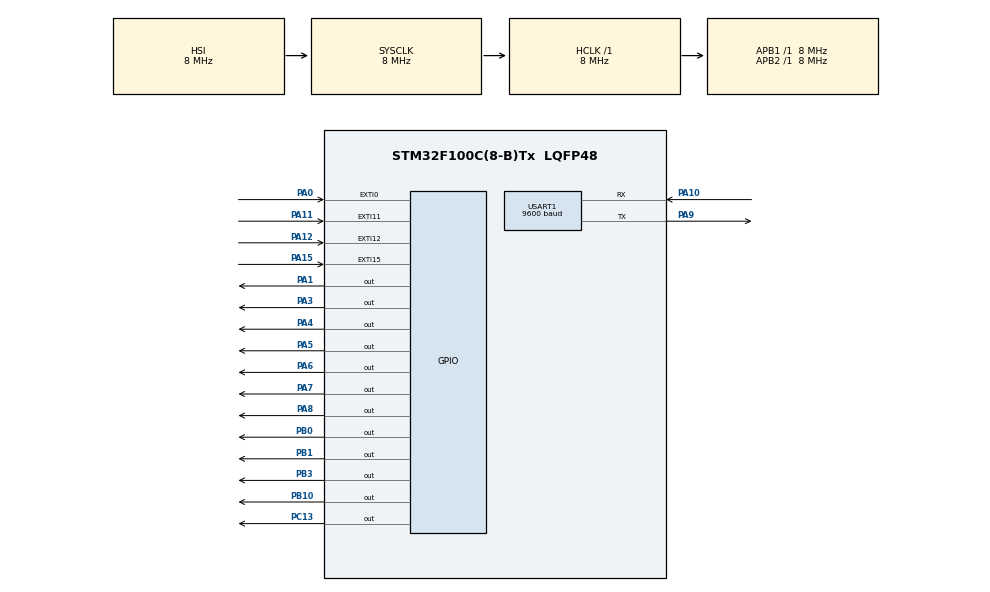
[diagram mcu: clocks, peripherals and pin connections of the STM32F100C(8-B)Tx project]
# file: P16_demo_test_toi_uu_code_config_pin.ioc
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Mcu.Family=STM32F1
Mcu.Name=STM32F100C(8-B)Tx
Mcu.Package=LQFP48
NVIC.EXTI0_IRQn=true\:1\:0\:true\:false\:true\:true\:true\:true
NVIC.EXTI15_10_IRQn=true\:1\:0\:true\:false\:true\:true\:true\:true
NVIC.PriorityGroup=NVIC_PRIORITYGROUP_4
NVIC.TIM2_IRQn=true\:1\:0\:true\:false\:true\:true\:true\:true
NVIC.TIM3_IRQn=true\:0\:0\:false\:false\:true\:true\:true\:true
PA0-WKUP.GPIO_ModeDefaultEXTI=GPIO_MODE_IT_RISING
PA0-WKUP.GPIO_PuPd=GPIO_PULLUP
PA0-WKUP.Signal=GPXTI0
PA1.GPIO_ModeDefaultOutputPP=GPIO_MODE_OUTPUT_PP
PA1.GPIO_PuPd=GPIO_PULLUP
PA1.PinState=GPIO_PIN_SET
PA1.Signal=GPIO_Output
PA10.Mode=Asynchronous
PA10.Signal=USART1_RX
PA11.GPIO_ModeDefaultEXTI=GPIO_MODE_IT_RISING
PA11.GPIO_PuPd=GPIO_PULLUP
PA11.Signal=GPXTI11
PA12.GPIO_ModeDefaultEXTI=GPIO_MODE_IT_RISING
PA12.GPIO_PuPd=GPIO_PULLUP
PA12.Signal=GPXTI12
PA15.GPIO_ModeDefaultEXTI=GPIO_MODE_IT_RISING
PA15.GPIO_PuPd=GPIO_PULLUP
PA15.Signal=GPXTI15
PA3.GPIO_ModeDefaultOutputPP=GPIO_MODE_OUTPUT_PP
PA3.GPIO_PuPd=GPIO_PULLUP
PA3.PinState=GPIO_PIN_SET
PA3.Signal=GPIO_Output
PA4.GPIO_ModeDefaultOutputPP=GPIO_MODE_OUTPUT_PP
PA4.GPIO_PuPd=GPIO_NOPULL
PA4.PinState=GPIO_PIN_SET
PA4.Signal=GPIO_Output
PA5.GPIO_ModeDefaultOutputPP=GPIO_MODE_OUTPUT_PP
PA5.GPIO_PuPd=GPIO_NOPULL
PA5.PinState=GPIO_PIN_SET
PA5.Signal=GPIO_Output
PA6.GPIO_ModeDefaultOutputPP=GPIO_MODE_OUTPUT_PP
PA6.GPIO_PuPd=GPIO_NOPULL
PA6.PinState=GPIO_PIN_SET
PA6.Signal=GPIO_Output
PA7.GPIO_ModeDefaultOutputPP=GPIO_MODE_OUTPUT_PP
PA7.GPIO_PuPd=GPIO_NOPULL
PA7.PinState=GPIO_PIN_SET
PA7.Signal=GPIO_Output
PA8.GPIO_ModeDefaultOutputPP=GPIO_MODE_OUTPUT_PP
PA8.GPIO_PuPd=GPIO_PULLUP
PA8.PinState=GPIO_PIN_SET
PA8.Signal=GPIO_Output
PA9.Mode=Asynchronous
PA9.Signal=USART1_TX
PB0.GPIO_ModeDefaultOutputPP=GPIO_MODE_OUTPUT_PP
PB0.GPIO_PuPd=GPIO_NOPULL
PB0.PinState=GPIO_PIN_SET
PB0.Signal=GPIO_Output
PB1.GPIO_ModeDefaultOutputPP=GPIO_MODE_OUTPUT_OD
PB1.GPIO_PuPd=GPIO_NOPULL
PB1.PinState=GPIO_PIN_SET
PB1.Signal=GPIO_Output
PB10.GPIO_ModeDefaultOutputPP=GPIO_MODE_OUTPUT_OD
PB10.GPIO_PuPd=GPIO_NOPULL
PB10.PinState=GPIO_PIN_RESET
PB10.Signal=GPIO_Output
PB3.GPIO_ModeDefaultOutputPP=GPIO_MODE_OUTPUT_OD
PB3.GPIO_PuPd=GPIO_NOPULL
PB3.PinState=GPIO_PIN_SET
PB3.Signal=GPIO_Output
PC13-TAMPER-RTC.GPIO_ModeDefaultOutputPP=GPIO_MODE_OUTPUT_PP
PC13-TAMPER-RTC.PinState=GPIO_PIN_RESET
PC13-TAMPER-RTC.Signal=GPIO_Output
PC14-OSC32_IN.Mode=LSE-External-Oscillator
PC14-OSC32_IN.Signal=RCC_OSC32_IN
PC15-OSC32_OUT.Mode=LSE-External-Oscillator
PC15-OSC32_OUT.Signal=RCC_OSC32_OUT
ProjectManager.HeapSize=0x200
ProjectManager.StackSize=0x400
ProjectManager.TargetToolchain=MDK-ARM V5.32
RCC.AHBFreq_Value=8000000
RCC.APB1Freq_Value=8000000
RCC.APB1TimFreq_Value=8000000
RCC.APB2Freq_Value=8000000
RCC.APB2TimFreq_Value=8000000
RCC.HCLKFreq_Value=8000000
RCC.SYSCLKFreq_VALUE=8000000
RTC.Format=RTC_FORMAT_BIN
TIM2.AutoReloadPreload=TIM_AUTORELOAD_PRELOAD_ENABLE
TIM2.Period=499
TIM2.Prescaler=8000
TIM3.AutoReloadPreload=TIM_AUTORELOAD_PRELOAD_ENABLE
TIM3.Period=32000
TIM3.Prescaler=60000
USART1.BaudRate=9600
USART1.VirtualMode=VM_ASYNC
VP_RTC_VS_RTC_Activate.Mode=RTC_Enabled
VP_RTC_VS_RTC_Calendar.Mode=RTC_Calendar
VP_SYS_VS_ND.Mode=No_Debug
VP_TIM2_VS_ClockSourceINT.Mode=Internal
VP_TIM3_VS_ClockSourceINT.Mode=Internal
board=custom

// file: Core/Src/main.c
/* USER CODE BEGIN Header */
/**
  ******************************************************************************
  * @file           : main.c
  * @brief          : Main program body
  ******************************************************************************
  * @attention
  *
  * Copyright (c) 2022 STMicroelectronics.
  * All rights reserved.
  *
  * This software is licensed under terms that can be found in the LICENSE file
  * in the root directory of this software component.
  * If no LICENSE file comes with this software, it is provided AS-IS.
  *
  ******************************************************************************
  */
/* USER CODE END Header */
#include "main.h"

/* USER CODE BEGIN Includes */
#include <stdio.h>

#include "string.h"

#include "ir_remote.h"

#include "flash_memory.h"

#include "ic_audio.h"

#include "handle_interupt.h"
/* USER CODE END Includes */

RTC_HandleTypeDef hrtc;

TIM_HandleTypeDef htim2;
TIM_HandleTypeDef htim3;

UART_HandleTypeDef huart1;

/* USER CODE BEGIN PV */
//DangLHb add bien
uint8_t  is_button = 0;
extern uint32_t time_record_1, time_record_2, time_record_3, time_record_4, time_record_5;
//uint8_t interupt_timer_3 = 0;
event event_interupt = NO_EVENT;

/* USER CODE END PV */

void SystemClock_Config(void);
static void MX_GPIO_Init(void);
static void MX_USART1_UART_Init(void);
static void MX_TIM2_Init(void);
static void MX_TIM3_Init(void);
static void MX_RTC_Init(void);
/* USER CODE BEGIN PFP */
static inline uint32_t LL_SYSTICK_IsActiveCounterFlag(void)
{
		return ((SysTick->CTRL & SysTick_CTRL_COUNTFLAG_Msk) == (SysTick_CTRL_COUNTFLAG_Msk));
}

static uint32_t getCurrentMicros(void)
{
    LL_SYSTICK_IsActiveCounterFlag();
		uint32_t m = HAL_GetTick();
		const uint32_t tms = SysTick->LOAD + 1;
		__IO uint32_t u = tms - SysTick->VAL;
		if (LL_SYSTICK_IsActiveCounterFlag())
		{
				m = HAL_GetTick();
				u = tms - SysTick->VAL;
		}
		return (m * 1000 + (u * 1000) / tms);
}
/* USER CODE END PFP */

/* USER CODE BEGIN 0 */
//DangLHb add ham xu li khi co su kien ngat
//Interupnt time - ham xu li khi co ngat timer
void HAL_TIM_PeriodElapsedCallback(TIM_HandleTypeDef *htim)
{
		UNUSED(htim);
		//Handle_Timer_Interupt();
		//event_interupt = TIMER_INTERUPT;
	/*
		if(htim == &htim3)
		{
			interupt_timer_3 = 1;
		}
	*/
		Handle_Timer_Interupt();
		HAL_GPIO_TogglePin(GPIOC, GPIO_PIN_13);
}

//Ham cau hinh chan PB1,PB2 out put push pull
/*
void Config_PB1_PB2_output(void)
{
	if(is_reset ==0)
		{
			HAL_GPIO_WritePin(GPIOB,GPIO_PIN_1|GPIO_PIN_11, GPIO_PIN_SET);
		  GPIO_InitTypeDef GPIO_InitStruct = {0};
			GPIO_InitStruct.Pin = GPIO_PIN_1|GPIO_PIN_2;
			GPIO_InitStruct.Mode = GPIO_MODE_OUTPUT_PP;
			GPIO_InitStruct.Pull = GPIO_NOPULL;
			GPIO_InitStruct.Speed = GPIO_SPEED_FREQ_LOW;
			HAL_GPIO_Init(GPIOB, &GPIO_InitStruct);
			is_reset = 1;
		}
}
*/

/* USER CODE END 0 */

int main(void)
{

  /* MCU Configuration--------------------------------------------------------*/

  /* Reset of all peripherals, Initializes the Flash interface and the Systick. */
  HAL_Init();

  /* Configure the system clock */
  SystemClock_Config();

  /* Initialize all configured peripherals */
  MX_GPIO_Init();
  MX_USART1_UART_Init();
  MX_TIM2_Init();
  MX_TIM3_Init();
  MX_RTC_Init();
  /* USER CODE BEGIN 2 */

/**************danglhb add to read variable and reset IC audio**************/
		HAL_UART_Transmit(&huart1, (uint8_t *)"Init", 4, HAL_MAX_DELAY);

		init_flash_memory();

		// add to resset flash
		//HAL_Delay(100);
		//resest_flash();
		HAL_Delay(100);
		read_variable_from_flash();		// doc gia tri bien da luu tu flash
		HAL_UART_Transmit(&huart1, (uint8_t *)"Init", 4, HAL_MAX_DELAY);
		HAL_GPIO_WritePin(GPIOB,GPIO_PIN_10,GPIO_PIN_RESET);	// RESET IC AUDIO
		HAL_Delay(100);
		HAL_GPIO_WritePin(GPIOB,GPIO_PIN_10,GPIO_PIN_SET);	// RESET IC AUDIO		// config open drain -> push pull
		HAL_TIM_Base_Start_IT(&htim2);	//khoi chay timer
/***************************************************************************/
  /* USER CODE END 2 */

  /* Infinite loop */
  /* USER CODE BEGIN WHILE */
		while (1)
		{
				handle_event(event_interupt);

    /* USER CODE END WHILE */

		}
}

void SystemClock_Config(void)
{
  RCC_OscInitTypeDef RCC_OscInitStruct = {0};
  RCC_ClkInitTypeDef RCC_ClkInitStruct = {0};
  RCC_PeriphCLKInitTypeDef PeriphClkInit = {0};

  /** Initializes the RCC Oscillators according to the specified parameters
  * in the RCC_OscInitTypeDef structure.
  */
  RCC_OscInitStruct.OscillatorType = RCC_OSCILLATORTYPE_HSI|RCC_OSCILLATORTYPE_LSI;
  RCC_OscInitStruct.HSIState = RCC_HSI_ON;
  RCC_OscInitStruct.HSICalibrationValue = RCC_HSICALIBRATION_DEFAULT;
  RCC_OscInitStruct.LSIState = RCC_LSI_ON;
  RCC_OscInitStruct.PLL.PLLState = RCC_PLL_NONE;
  if (HAL_RCC_OscConfig(&RCC_OscInitStruct) != HAL_OK)
  {
    Error_Handler();
  }

  /** Initializes the CPU, AHB and APB buses clocks
  */
  RCC_ClkInitStruct.ClockType = RCC_CLOCKTYPE_HCLK|RCC_CLOCKTYPE_SYSCLK
                              |RCC_CLOCKTYPE_PCLK1|RCC_CLOCKTYPE_PCLK2;
  RCC_ClkInitStruct.SYSCLKSource = RCC_SYSCLKSOURCE_HSI;
  RCC_ClkInitStruct.AHBCLKDivider = RCC_SYSCLK_DIV1;
  RCC_ClkInitStruct.APB1CLKDivider = RCC_HCLK_DIV1;
  RCC_ClkInitStruct.APB2CLKDivider = RCC_HCLK_DIV1;

  if (HAL_RCC_ClockConfig(&RCC_ClkInitStruct, FLASH_LATENCY_0) != HAL_OK)
  {
    Error_Handler();
  }
  PeriphClkInit.PeriphClockSelection = RCC_PERIPHCLK_RTC;
  PeriphClkInit.RTCClockSelection = RCC_RTCCLKSOURCE_LSI;
  if (HAL_RCCEx_PeriphCLKConfig(&PeriphClkInit) != HAL_OK)
  {
    Error_Handler();
  }
}

static void MX_RTC_Init(void)
{

  RTC_TimeTypeDef sTime = {0};
  RTC_DateTypeDef DateToUpdate = {0};

  /** Initialize RTC Only
  */
  hrtc.Instance = RTC;
  hrtc.Init.AsynchPrediv = RTC_AUTO_1_SECOND;
  hrtc.Init.OutPut = RTC_OUTPUTSOURCE_ALARM;
  if (HAL_RTC_Init(&hrtc) != HAL_OK)
  {
    Error_Handler();
  }

  /** Initialize RTC and set the Time and Date
  */
  sTime.Hours = 0;
  sTime.Minutes = 0;
  sTime.Seconds = 0;

  if (HAL_RTC_SetTime(&hrtc, &sTime, RTC_FORMAT_BIN) != HAL_OK)
  {
    Error_Handler();
  }
  DateToUpdate.WeekDay = RTC_WEEKDAY_MONDAY;
  DateToUpdate.Month = RTC_MONTH_JANUARY;
  DateToUpdate.Date = 1;
  DateToUpdate.Year = 0;

  if (HAL_RTC_SetDate(&hrtc, &DateToUpdate, RTC_FORMAT_BIN) != HAL_OK)
  {
    Error_Handler();
  }

}

static void MX_TIM2_Init(void)
{

  TIM_ClockConfigTypeDef sClockSourceConfig = {0};
  TIM_MasterConfigTypeDef sMasterConfig = {0};

  htim2.Instance = TIM2;
  htim2.Init.Prescaler = 8000;
  htim2.Init.CounterMode = TIM_COUNTERMODE_UP;
  htim2.Init.Period = 499;
  htim2.Init.ClockDivision = TIM_CLOCKDIVISION_DIV1;
  htim2.Init.AutoReloadPreload = TIM_AUTORELOAD_PRELOAD_ENABLE;
  if (HAL_TIM_Base_Init(&htim2) != HAL_OK)
  {
    Error_Handler();
  }
  sClockSourceConfig.ClockSource = TIM_CLOCKSOURCE_INTERNAL;
  if (HAL_TIM_ConfigClockSource(&htim2, &sClockSourceConfig) != HAL_OK)
  {
    Error_Handler();
  }
  sMasterConfig.MasterOutputTrigger = TIM_TRGO_RESET;
  sMasterConfig.MasterSlaveMode = TIM_MASTERSLAVEMODE_DISABLE;
  if (HAL_TIMEx_MasterConfigSynchronization(&htim2, &sMasterConfig) != HAL_OK)
  {
    Error_Handler();
  }

}

static void MX_TIM3_Init(void)
{

  TIM_ClockConfigTypeDef sClockSourceConfig = {0};
  TIM_MasterConfigTypeDef sMasterConfig = {0};

  htim3.Instance = TIM3;
  htim3.Init.Prescaler = 60000;
  htim3.Init.CounterMode = TIM_COUNTERMODE_UP;
  htim3.Init.Period = 32000;
  htim3.Init.ClockDivision = TIM_CLOCKDIVISION_DIV1;
  htim3.Init.AutoReloadPreload = TIM_AUTORELOAD_PRELOAD_ENABLE;
  if (HAL_TIM_Base_Init(&htim3) != HAL_OK)
  {
    Error_Handler();
  }
  sClockSourceConfig.ClockSource = TIM_CLOCKSOURCE_INTERNAL;
  if (HAL_TIM_ConfigClockSource(&htim3, &sClockSourceConfig) != HAL_OK)
  {
    Error_Handler();
  }
  sMasterConfig.MasterOutputTrigger = TIM_TRGO_RESET;
  sMasterConfig.MasterSlaveMode = TIM_MASTERSLAVEMODE_DISABLE;
  if (HAL_TIMEx_MasterConfigSynchronization(&htim3, &sMasterConfig) != HAL_OK)
  {
    Error_Handler();
  }

}

static void MX_USART1_UART_Init(void)
{

  huart1.Instance = USART1;
  huart1.Init.BaudRate = 9600;
  huart1.Init.WordLength = UART_WORDLENGTH_8B;
  huart1.Init.StopBits = UART_STOPBITS_1;
  huart1.Init.Parity = UART_PARITY_NONE;
  huart1.Init.Mode = UART_MODE_TX_RX;
  huart1.Init.HwFlowCtl = UART_HWCONTROL_NONE;
  huart1.Init.OverSampling = UART_OVERSAMPLING_16;
  if (HAL_UART_Init(&huart1) != HAL_OK)
  {
    Error_Handler();
  }

}

static void MX_GPIO_Init(void)
{
  GPIO_InitTypeDef GPIO_InitStruct = {0};

  /* GPIO Ports Clock Enable */
  __HAL_RCC_GPIOC_CLK_ENABLE();
  __HAL_RCC_GPIOA_CLK_ENABLE();
  __HAL_RCC_GPIOB_CLK_ENABLE();

  /*Configure GPIO pin Output Level */
  HAL_GPIO_WritePin(GPIOC, GPIO_PIN_13, GPIO_PIN_RESET);

  /*Configure GPIO pin Output Level */
  HAL_GPIO_WritePin(GPIOA, GPIO_PIN_1|GPIO_PIN_3|GPIO_PIN_4|GPIO_PIN_5
                          |GPIO_PIN_6|GPIO_PIN_7|GPIO_PIN_8, GPIO_PIN_SET);

  /*Configure GPIO pin Output Level */
  HAL_GPIO_WritePin(GPIOB, GPIO_PIN_0|GPIO_PIN_1|GPIO_PIN_3, GPIO_PIN_SET);

  /*Configure GPIO pin Output Level */
  HAL_GPIO_WritePin(GPIOB, GPIO_PIN_10, GPIO_PIN_RESET);

  /*Configure GPIO pin : PC13 */
  GPIO_InitStruct.Pin = GPIO_PIN_13;
  GPIO_InitStruct.Mode = GPIO_MODE_OUTPUT_PP;
  GPIO_InitStruct.Pull = GPIO_NOPULL;
  GPIO_InitStruct.Speed = GPIO_SPEED_FREQ_LOW;
  HAL_GPIO_Init(GPIOC, &GPIO_InitStruct);

  /*Configure GPIO pins : PA0 PA11 PA12 PA15 */
  GPIO_InitStruct.Pin = GPIO_PIN_0|GPIO_PIN_11|GPIO_PIN_12|GPIO_PIN_15;
  GPIO_InitStruct.Mode = GPIO_MODE_IT_RISING;
  GPIO_InitStruct.Pull = GPIO_PULLUP;
  HAL_GPIO_Init(GPIOA, &GPIO_InitStruct);

  /*Configure GPIO pins : PA1 PA3 PA8 */
  GPIO_InitStruct.Pin = GPIO_PIN_1|GPIO_PIN_3|GPIO_PIN_8;
  GPIO_InitStruct.Mode = GPIO_MODE_OUTPUT_PP;
  GPIO_InitStruct.Pull = GPIO_PULLUP;
  GPIO_InitStruct.Speed = GPIO_SPEED_FREQ_LOW;
  HAL_GPIO_Init(GPIOA, &GPIO_InitStruct);

  /*Configure GPIO pins : PA4 PA5 PA6 PA7 */
  GPIO_InitStruct.Pin = GPIO_PIN_4|GPIO_PIN_5|GPIO_PIN_6|GPIO_PIN_7;
  GPIO_InitStruct.Mode = GPIO_MODE_OUTPUT_PP;
  GPIO_InitStruct.Pull = GPIO_NOPULL;
  GPIO_InitStruct.Speed = GPIO_SPEED_FREQ_LOW;
  HAL_GPIO_Init(GPIOA, &GPIO_InitStruct);

  /*Configure GPIO pin : PB0 */
  GPIO_InitStruct.Pin = GPIO_PIN_0;
  GPIO_InitStruct.Mode = GPIO_MODE_OUTPUT_PP;
  GPIO_InitStruct.Pull = GPIO_NOPULL;
  GPIO_InitStruct.Speed = GPIO_SPEED_FREQ_LOW;
  HAL_GPIO_Init(GPIOB, &GPIO_InitStruct);

  /*Configure GPIO pins : PB1 PB10 PB3 */
  GPIO_InitStruct.Pin = GPIO_PIN_1|GPIO_PIN_10|GPIO_PIN_3;
  GPIO_InitStruct.Mode = GPIO_MODE_OUTPUT_OD;
  GPIO_InitStruct.Pull = GPIO_NOPULL;
  GPIO_InitStruct.Speed = GPIO_SPEED_FREQ_LOW;
  HAL_GPIO_Init(GPIOB, &GPIO_InitStruct);

  /* EXTI interrupt init*/
  HAL_NVIC_SetPriority(EXTI0_IRQn, 1, 0);
  HAL_NVIC_EnableIRQ(EXTI0_IRQn);

  HAL_NVIC_SetPriority(EXTI15_10_IRQn, 1, 0);
  HAL_NVIC_EnableIRQ(EXTI15_10_IRQn);

}

void Error_Handler(void)
{
		__disable_irq();
		while (1)
		{
		}
}
